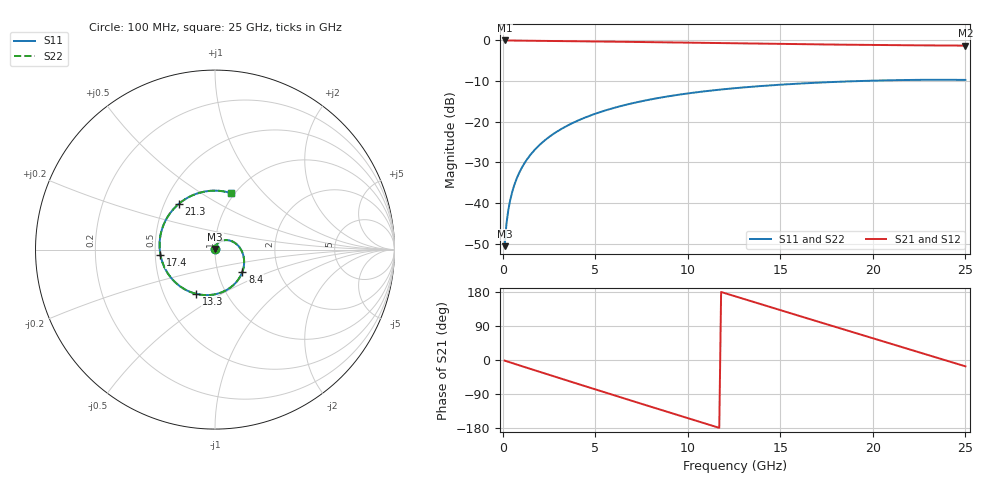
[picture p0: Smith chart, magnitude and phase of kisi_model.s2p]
! kisi P_ts6_finger_noplane: fast channel model (formula impedances, via model), up to 25 GHz
# Hz S RI R 50
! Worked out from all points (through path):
!   250 points, 100 MHz to 25 GHz, reference 50 ohm
!   highest |S21| = -0.01 dB at 100 MHz (marker M1); lowest = -1.3 dB at 25 GHz (marker M2)
!   group delay of S21, straight-line fit = 41.7 ps
!   lowest |S11| = -50.6 dB at 100 MHz (marker M3), VSWR 1.01, Z = 50.1 + j0.277 ohm
!   |S11| at or under -10 dB: start of sweep to 19.16 GHz
!   |S22| runs from -50.6 to -9.7 dB; largest |S21 - S12| = 0
!   S11 on the Smith chart (normalised r, x): 100 MHz: 1.00, +0.01; 8.4 GHz: 1.31, -0.33; 13.3 GHz: 0.72, -0.38; 17.4 GHz: 0.53, -0.03; 21.3 GHz: 0.59, +0.34; 25 GHz: 0.96, +0.68
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1e8  0.00106 0.00277  0.9982 -0.0283  0.9982 -0.0283  0.00106 0.00277
2e8  0.00138 0.00543  0.9965 -0.056  0.9965 -0.056  0.00138 0.00543
4e8  0.00238 0.0106  0.9908 -0.1108  0.9908 -0.1108  0.00238 0.0106
7e8  0.00481 0.018  0.9769 -0.1915  0.9769 -0.1915  0.00481 0.018
1.1e9  0.00979 0.0274  0.9484 -0.2961  0.9484 -0.2961  0.00979 0.0274
2.4e9  0.0384 0.0492  0.783 -0.601  0.783 -0.601  0.0384 0.0492
4.3e9  0.1 0.0438  0.3849 -0.8971  0.3849 -0.8971  0.1 0.0438
5.3e9  0.1309 0.0196  0.1332 -0.9607  0.1332 -0.9607  0.1309 0.0196
6.3e9  0.1533 -0.0179  -0.1238 -0.9552  -0.1238 -0.9552  0.1533 -0.0179
8.4e9  0.1531 -0.1222  -0.6008 -0.7339  -0.6008 -0.7339  0.1531 -0.1222
1.05e10  0.0768 -0.2177  -0.8828 -0.3037  -0.8828 -0.3037  0.0768 -0.2177
1.15e10  0.0181 -0.2446  -0.9244 -0.0638  -0.9244 -0.0638  0.0181 -0.2446
1.26e10  -0.0559 -0.2534  -0.8973 0.1996  -0.8973 0.1996  -0.0559 -0.2534
1.33e10  -0.1047 -0.2465  -0.8419 0.3577  -0.8419 0.3577  -0.1047 -0.2465
1.51e10  -0.2199 -0.1837  -0.5822 0.6911  -0.5822 0.6911  -0.2199 -0.1837
1.67e10  -0.2887 -0.0824  -0.2511 0.8588  -0.2511 0.8588  -0.2887 -0.0824
1.74e10  -0.304 -0.0294  -0.0915 0.8864  -0.0915 0.8864  -0.304 -0.0294
1.91e10  -0.2975 0.1063  0.2925 0.8331  0.2925 0.8331  -0.2975 0.1063
2.09e10  -0.2243 0.2335  0.63 0.6078  0.63 0.6078  -0.2243 0.2335
2.13e10  -0.2001 0.2562  0.6881 0.5386  0.6881 0.5386  -0.2001 0.2562
2.32e10  -0.0583 0.3231  0.8545 0.1495  0.8545 0.1495  -0.0583 0.3231
2.5e10  0.09 0.3145  0.8264 -0.2481  0.8264 -0.2481  0.09 0.3145
